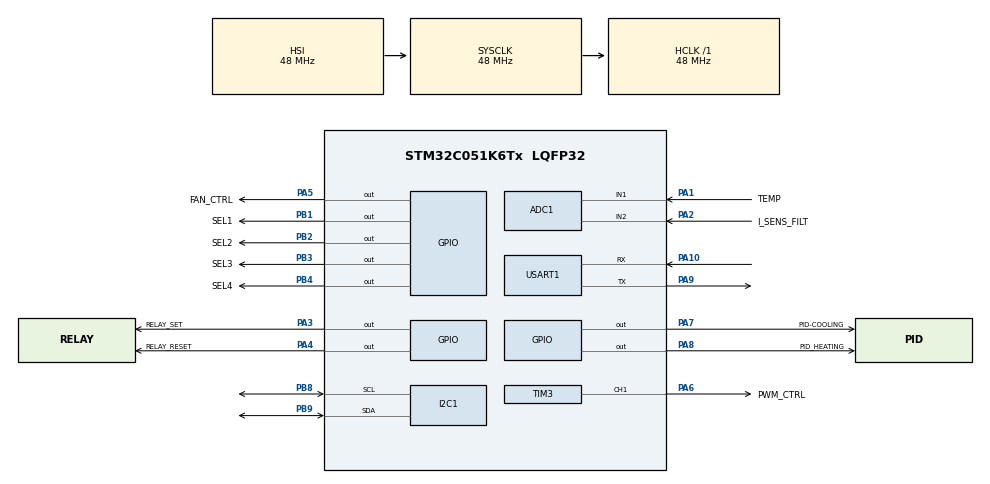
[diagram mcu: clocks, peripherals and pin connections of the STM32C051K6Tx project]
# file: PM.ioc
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ADC1.NbrOfConversionFlag=0
ADC1.SamplingTimeCommon1=ADC_SAMPLETIME_160CYCLES_5
ADC1.SelectedChannel=ADC_CHANNEL_1|ADC_CHANNEL_2
ADC1.master=1
I2C1.Timing=0x10805D88
IWDG.Prescaler=IWDG_PRESCALER_32
IWDG.Reload=499
Mcu.Family=STM32C0
Mcu.Name=STM32C051K6Tx
Mcu.Package=LQFP32
PA1.GPIO_Label=TEMP
PA1.Mode=IN1
PA1.Signal=ADC1_IN1
PA10.Mode=Asynchronous
PA10.Signal=USART1_RX
PA13.Mode=Serial_Wire
PA13.Signal=DEBUG_SWDIO
PA14-BOOT0.Mode=Serial_Wire
PA14-BOOT0.Signal=DEBUG_SWCLK
PA2.GPIO_Label=I_SENS_FILT
PA2.Mode=IN2
PA2.Signal=ADC1_IN2
PA3.GPIO_Label=RELAY_SET
PA3.Signal=GPIO_Output
PA4.GPIO_Label=RELAY_RESET
PA4.Signal=GPIO_Output
PA5.GPIO_Label=FAN_CTRL
PA5.Signal=GPIO_Output
PA6.GPIO_Label=PWM_CTRL
PA6.Signal=S_TIM3_CH1
PA7.GPIO_Label=PID-COOLING
PA7.Signal=GPIO_Output
PA8.GPIO_Label=PID_HEATING
PA8.Signal=GPIO_Output
PA9.Mode=Asynchronous
PA9.Signal=USART1_TX
PB1.GPIO_Label=SEL1
PB1.Signal=GPIO_Output
PB2.GPIO_Label=SEL2
PB2.Signal=GPIO_Output
PB3.GPIO_Label=SEL3
PB3.Signal=GPIO_Output
PB4.GPIO_Label=SEL4
PB4.Signal=GPIO_Output
PB8.Mode=I2C
PB8.Signal=I2C1_SCL
PB9.Mode=I2C
PB9.Signal=I2C1_SDA
PC14-OSCX_IN(PC14).Mode=LSE-External-Oscillator
PC14-OSCX_IN(PC14).Signal=RCC_OSCX_IN
PC15-OSCX_OUT(PC15).Mode=LSE-External-Oscillator
PC15-OSCX_OUT(PC15).Signal=RCC_OSCX_OUT
ProjectManager.HeapSize=0x200
ProjectManager.StackSize=0x400
ProjectManager.TargetToolchain=STM32CubeIDE
RCC.ADCFreq_Value=48000000
RCC.AHBFreq_Value=48000000
RCC.CortexFreq_Value=48000000
RCC.EXTERNAL_CLOCK_VALUE=12288000
RCC.HCLKFreq_Value=48000000
RCC.HSE_VALUE=8000000
RCC.HSISYSCLKDivider=RCC_HSI_DIV1
RCC.HSI_VALUE=48000000
RCC.RTCClockSelection=RCC_RTCCLKSOURCE_LSE
RCC.SYSCLKFreq_VALUE=48000000
SH.S_TIM3_CH1.0=TIM3_CH1,PWM Generation1 CH1
TIM3.Channel-PWM\ Generation1\ CH1=TIM_CHANNEL_1
TIM3.Period=99
USART1.VirtualMode-Asynchronous=VM_ASYNC
VP_IWDG_VS_IWDG.Mode=IWDG_Activate
VP_RTC_VS_RTC_Activate.Mode=RTC_Enabled
board=custom

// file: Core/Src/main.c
/* USER CODE BEGIN Header */
/**
  ******************************************************************************
  * @file           : main.c
  * @brief          : Main program body
  ******************************************************************************
  * @attention
  *
  * Copyright (c) 2026 STMicroelectronics.
  * All rights reserved.
  *
  * This software is licensed under terms that can be found in the LICENSE file
  * in the root directory of this software component.
  * If no LICENSE file comes with this software, it is provided AS-IS.
  *
  ******************************************************************************
  */
/* USER CODE END Header */
#include "main.h"

/* USER CODE BEGIN Includes */
#include "adc_reader.h"
#include "temperature_sensor.h"
#include "current_sensor.h"
#include "pid_control.h"
#include "i2c_comm.h"
/* USER CODE END Includes */

ADC_HandleTypeDef hadc1;

I2C_HandleTypeDef hi2c1;

IWDG_HandleTypeDef hiwdg;

RTC_HandleTypeDef hrtc;

TIM_HandleTypeDef htim3;

UART_HandleTypeDef huart1;

void SystemClock_Config(void);
static void MX_GPIO_Init(void);
static void MX_ADC1_Init(void);
static void MX_I2C1_Init(void);
static void MX_RTC_Init(void);
static void MX_TIM3_Init(void);
static void MX_USART1_UART_Init(void);
static void MX_IWDG_Init(void);

int main(void)
{

  /* MCU Configuration--------------------------------------------------------*/

  /* Reset of all peripherals, Initializes the Flash interface and the Systick. */
  HAL_Init();

  /* Configure the system clock */
  SystemClock_Config();

  /* Initialize all configured peripherals */
  MX_GPIO_Init();
  MX_ADC1_Init();
  MX_I2C1_Init();
  MX_RTC_Init();
  MX_TIM3_Init();
  MX_USART1_UART_Init();
  MX_IWDG_Init();
  /* USER CODE BEGIN 2 */

#if defined(HAL_IWDG_MODULE_ENABLED) && defined(__HAL_DBGMCU_FREEZE_IWDG)
  /* Stop the watchdog while the core is halted by the debugger (breakpoints) */
#if defined(__HAL_RCC_DBGMCU_CLK_ENABLE)
  __HAL_RCC_DBGMCU_CLK_ENABLE();
#endif
  __HAL_DBGMCU_FREEZE_IWDG();
#endif

  AdcReader_Init();   /* ADC self-calibration, before the first conversion */
  TempSensor_Init();
  CurrentSensor_Init();
  PidControl_Init();
  I2cComm_Init();

  /* USER CODE END 2 */

  /* Infinite loop */
  while (1)
  {

    /* USER CODE BEGIN 3 */

    TempSensor_Process();
    PidControl_Process();
    I2cComm_Update();

#ifdef HAL_IWDG_MODULE_ENABLED
    /* Independent watchdog: if the main loop hangs, the MCU is reset and the
     * PWM output goes inactive instead of keeping its last duty cycle. */
    HAL_IWDG_Refresh(&hiwdg);
#endif
  }
  /* USER CODE END 3 */
}

void SystemClock_Config(void)
{
  RCC_OscInitTypeDef RCC_OscInitStruct = {0};
  RCC_ClkInitTypeDef RCC_ClkInitStruct = {0};

  __HAL_FLASH_SET_LATENCY(FLASH_LATENCY_1);

  /** Configure LSE Drive Capability
  */
  __HAL_RCC_LSEDRIVE_CONFIG(RCC_LSEDRIVE_LOW);

  /** Initializes the RCC Oscillators according to the specified parameters
  * in the RCC_OscInitTypeDef structure.
  */
  RCC_OscInitStruct.OscillatorType = RCC_OSCILLATORTYPE_HSI|RCC_OSCILLATORTYPE_LSI
                              |RCC_OSCILLATORTYPE_LSE;
  RCC_OscInitStruct.LSEState = RCC_LSE_ON;
  RCC_OscInitStruct.HSIState = RCC_HSI_ON;
  RCC_OscInitStruct.HSIDiv = RCC_HSI_DIV1;
  RCC_OscInitStruct.HSICalibrationValue = RCC_HSICALIBRATION_DEFAULT;
  RCC_OscInitStruct.LSIState = RCC_LSI_ON;
  if (HAL_RCC_OscConfig(&RCC_OscInitStruct) != HAL_OK)
  {
    Error_Handler();
  }

  /** Initializes the CPU, AHB and APB buses clocks
  */
  RCC_ClkInitStruct.ClockType = RCC_CLOCKTYPE_HCLK|RCC_CLOCKTYPE_SYSCLK
                              |RCC_CLOCKTYPE_PCLK1;
  RCC_ClkInitStruct.SYSCLKSource = RCC_SYSCLKSOURCE_HSI;
  RCC_ClkInitStruct.SYSCLKDivider = RCC_SYSCLK_DIV1;
  RCC_ClkInitStruct.AHBCLKDivider = RCC_HCLK_DIV1;
  RCC_ClkInitStruct.APB1CLKDivider = RCC_APB1_DIV1;

  if (HAL_RCC_ClockConfig(&RCC_ClkInitStruct, FLASH_LATENCY_1) != HAL_OK)
  {
    Error_Handler();
  }
}

static void MX_ADC1_Init(void)
{

  ADC_ChannelConfTypeDef sConfig = {0};

  /** Configure the global features of the ADC (Clock, Resolution, Data Alignment and number of conversion)
  */
  hadc1.Instance = ADC1;
  hadc1.Init.ClockPrescaler = ADC_CLOCK_SYNC_PCLK_DIV2;
  hadc1.Init.Resolution = ADC_RESOLUTION_12B;
  hadc1.Init.DataAlign = ADC_DATAALIGN_RIGHT;
  hadc1.Init.ScanConvMode = ADC_SCAN_SEQ_FIXED;
  hadc1.Init.EOCSelection = ADC_EOC_SINGLE_CONV;
  hadc1.Init.LowPowerAutoWait = DISABLE;
  hadc1.Init.LowPowerAutoPowerOff = DISABLE;
  hadc1.Init.ContinuousConvMode = DISABLE;
  hadc1.Init.NbrOfConversion = 1;
  hadc1.Init.DiscontinuousConvMode = DISABLE;
  hadc1.Init.ExternalTrigConv = ADC_SOFTWARE_START;
  hadc1.Init.ExternalTrigConvEdge = ADC_EXTERNALTRIGCONVEDGE_NONE;
  hadc1.Init.DMAContinuousRequests = DISABLE;
  hadc1.Init.Overrun = ADC_OVR_DATA_PRESERVED;
  hadc1.Init.SamplingTimeCommon1 = ADC_SAMPLETIME_160CYCLES_5;
  hadc1.Init.OversamplingMode = DISABLE;
  hadc1.Init.TriggerFrequencyMode = ADC_TRIGGER_FREQ_HIGH;
  if (HAL_ADC_Init(&hadc1) != HAL_OK)
  {
    Error_Handler();
  }

  /** Configure Regular Channel
  */
  sConfig.Channel = ADC_CHANNEL_1;
  sConfig.Rank = ADC_RANK_CHANNEL_NUMBER;
  if (HAL_ADC_ConfigChannel(&hadc1, &sConfig) != HAL_OK)
  {
    Error_Handler();
  }

  /** Configure Regular Channel
  */
  sConfig.Channel = ADC_CHANNEL_2;
  if (HAL_ADC_ConfigChannel(&hadc1, &sConfig) != HAL_OK)
  {
    Error_Handler();
  }

}

static void MX_I2C1_Init(void)
{

  hi2c1.Instance = I2C1;
  hi2c1.Init.Timing = 0x10805D88;
  hi2c1.Init.OwnAddress1 = 0;
  hi2c1.Init.AddressingMode = I2C_ADDRESSINGMODE_7BIT;
  hi2c1.Init.DualAddressMode = I2C_DUALADDRESS_DISABLE;
  hi2c1.Init.OwnAddress2 = 0;
  hi2c1.Init.OwnAddress2Masks = I2C_OA2_NOMASK;
  hi2c1.Init.GeneralCallMode = I2C_GENERALCALL_DISABLE;
  hi2c1.Init.NoStretchMode = I2C_NOSTRETCH_DISABLE;
  if (HAL_I2C_Init(&hi2c1) != HAL_OK)
  {
    Error_Handler();
  }

  /** Configure Analogue filter
  */
  if (HAL_I2CEx_ConfigAnalogFilter(&hi2c1, I2C_ANALOGFILTER_ENABLE) != HAL_OK)
  {
    Error_Handler();
  }

  /** Configure Digital filter
  */
  if (HAL_I2CEx_ConfigDigitalFilter(&hi2c1, 0) != HAL_OK)
  {
    Error_Handler();
  }

}

static void MX_IWDG_Init(void)
{

  hiwdg.Instance = IWDG;
  hiwdg.Init.Prescaler = IWDG_PRESCALER_32;
  hiwdg.Init.Window = 4095;
  hiwdg.Init.Reload = 499;
  if (HAL_IWDG_Init(&hiwdg) != HAL_OK)
  {
    Error_Handler();
  }

}

static void MX_RTC_Init(void)
{

  /** Initialize RTC Only
  */
  hrtc.Instance = RTC;
  hrtc.Init.HourFormat = RTC_HOURFORMAT_24;
  hrtc.Init.AsynchPrediv = 127;
  hrtc.Init.SynchPrediv = 255;
  hrtc.Init.OutPut = RTC_OUTPUT_DISABLE;
  hrtc.Init.OutPutRemap = RTC_OUTPUT_REMAP_NONE;
  hrtc.Init.OutPutPolarity = RTC_OUTPUT_POLARITY_HIGH;
  hrtc.Init.OutPutType = RTC_OUTPUT_TYPE_OPENDRAIN;
  hrtc.Init.OutPutPullUp = RTC_OUTPUT_PULLUP_NONE;
  if (HAL_RTC_Init(&hrtc) != HAL_OK)
  {
    Error_Handler();
  }

}

static void MX_TIM3_Init(void)
{

  TIM_MasterConfigTypeDef sMasterConfig = {0};
  TIM_OC_InitTypeDef sConfigOC = {0};

  htim3.Instance = TIM3;
  htim3.Init.Prescaler = 0;
  htim3.Init.CounterMode = TIM_COUNTERMODE_UP;
  htim3.Init.Period = 99;
  htim3.Init.ClockDivision = TIM_CLOCKDIVISION_DIV1;
  htim3.Init.AutoReloadPreload = TIM_AUTORELOAD_PRELOAD_DISABLE;
  if (HAL_TIM_PWM_Init(&htim3) != HAL_OK)
  {
    Error_Handler();
  }
  sMasterConfig.MasterOutputTrigger = TIM_TRGO_RESET;
  sMasterConfig.MasterSlaveMode = TIM_MASTERSLAVEMODE_DISABLE;
  if (HAL_TIMEx_MasterConfigSynchronization(&htim3, &sMasterConfig) != HAL_OK)
  {
    Error_Handler();
  }
  sConfigOC.OCMode = TIM_OCMODE_PWM1;
  sConfigOC.Pulse = 0;
  sConfigOC.OCPolarity = TIM_OCPOLARITY_HIGH;
  sConfigOC.OCFastMode = TIM_OCFAST_DISABLE;
  if (HAL_TIM_PWM_ConfigChannel(&htim3, &sConfigOC, TIM_CHANNEL_1) != HAL_OK)
  {
    Error_Handler();
  }
  HAL_TIM_MspPostInit(&htim3);

}

static void MX_USART1_UART_Init(void)
{

  huart1.Instance = USART1;
  huart1.Init.BaudRate = 115200;
  huart1.Init.WordLength = UART_WORDLENGTH_8B;
  huart1.Init.StopBits = UART_STOPBITS_1;
  huart1.Init.Parity = UART_PARITY_NONE;
  huart1.Init.Mode = UART_MODE_TX_RX;
  huart1.Init.HwFlowCtl = UART_HWCONTROL_NONE;
  huart1.Init.OverSampling = UART_OVERSAMPLING_16;
  huart1.Init.OneBitSampling = UART_ONE_BIT_SAMPLE_DISABLE;
  huart1.Init.ClockPrescaler = UART_PRESCALER_DIV1;
  huart1.AdvancedInit.AdvFeatureInit = UART_ADVFEATURE_NO_INIT;
  if (HAL_UART_Init(&huart1) != HAL_OK)
  {
    Error_Handler();
  }
  if (HAL_UARTEx_SetTxFifoThreshold(&huart1, UART_TXFIFO_THRESHOLD_1_8) != HAL_OK)
  {
    Error_Handler();
  }
  if (HAL_UARTEx_SetRxFifoThreshold(&huart1, UART_RXFIFO_THRESHOLD_1_8) != HAL_OK)
  {
    Error_Handler();
  }
  if (HAL_UARTEx_DisableFifoMode(&huart1) != HAL_OK)
  {
    Error_Handler();
  }

}

static void MX_GPIO_Init(void)
{
  GPIO_InitTypeDef GPIO_InitStruct = {0};

  /* GPIO Ports Clock Enable */
  __HAL_RCC_GPIOB_CLK_ENABLE();
  __HAL_RCC_GPIOC_CLK_ENABLE();
  __HAL_RCC_GPIOA_CLK_ENABLE();

  /*Configure GPIO pin Output Level */
  HAL_GPIO_WritePin(GPIOA, RELAY_SET_Pin|RELAY_RESET_Pin|FAN_CTRL_Pin|PID_COOLING_Pin
                          |PID_HEATING_Pin, GPIO_PIN_RESET);

  /*Configure GPIO pin Output Level */
  HAL_GPIO_WritePin(GPIOB, SEL1_Pin|SEL2_Pin|SEL3_Pin|SEL4_Pin, GPIO_PIN_RESET);

  /*Configure GPIO pins : RELAY_SET_Pin RELAY_RESET_Pin FAN_CTRL_Pin PID_COOLING_Pin
                           PID_HEATING_Pin */
  GPIO_InitStruct.Pin = RELAY_SET_Pin|RELAY_RESET_Pin|FAN_CTRL_Pin|PID_COOLING_Pin
                          |PID_HEATING_Pin;
  GPIO_InitStruct.Mode = GPIO_MODE_OUTPUT_PP;
  GPIO_InitStruct.Pull = GPIO_NOPULL;
  GPIO_InitStruct.Speed = GPIO_SPEED_FREQ_LOW;
  HAL_GPIO_Init(GPIOA, &GPIO_InitStruct);

  /*Configure GPIO pins : SEL1_Pin SEL2_Pin SEL3_Pin SEL4_Pin */
  GPIO_InitStruct.Pin = SEL1_Pin|SEL2_Pin|SEL3_Pin|SEL4_Pin;
  GPIO_InitStruct.Mode = GPIO_MODE_OUTPUT_PP;
  GPIO_InitStruct.Pull = GPIO_NOPULL;
  GPIO_InitStruct.Speed = GPIO_SPEED_FREQ_LOW;
  HAL_GPIO_Init(GPIOB, &GPIO_InitStruct);

}

void Error_Handler(void)
{
  __disable_irq();
  while (1)
  {
  }
}
